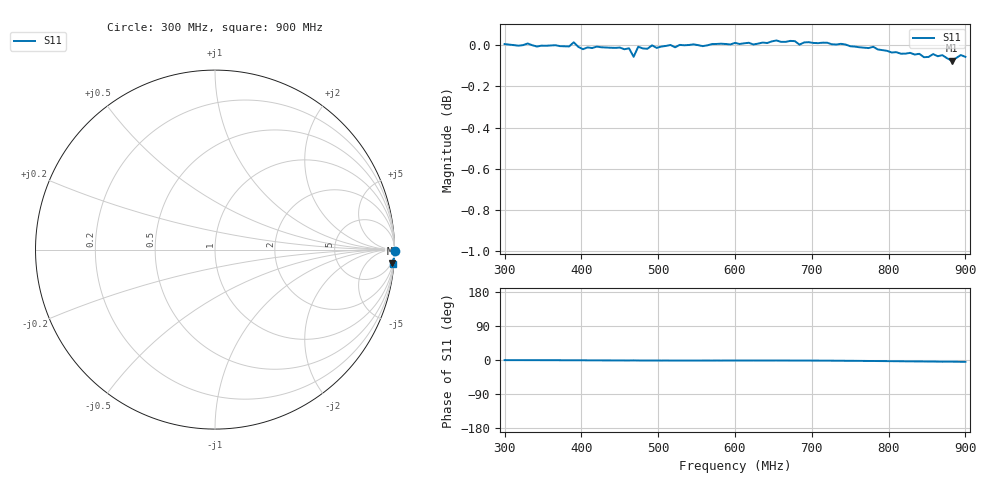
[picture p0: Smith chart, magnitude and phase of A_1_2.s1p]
# HZ S RI R 50
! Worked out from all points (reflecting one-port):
!   101 points, 300 MHz to 900 MHz, reference 50 ohm
!   lowest |S11| = -0.1 dB at 882 MHz (marker M1), VSWR 233.62, Z = 146 - j1.3e+03 ohm
!   phase of S11 starts at -0 deg and turns -4 deg over the sweep
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3e8  1.001 -0.00585
3.24e8  1 -0.00597
3.78e8  0.9993 -0.0115
3.9e8  1.002 -0.0134
4.02e8  0.9977 -0.0125
4.08e8  0.9986 -0.0155
4.5e8  0.9985 -0.0203
4.62e8  0.998 -0.0218
4.68e8  0.9934 -0.019
4.74e8  0.9989 -0.023
4.86e8  0.9977 -0.0237
4.92e8  0.9996 -0.024
5.28e8  0.9999 -0.0256
6e8  1.001 -0.0238
6.24e8  1 -0.023
6.54e8  1.002 -0.0231
6.78e8  1.002 -0.0256
6.84e8  1 -0.0265
7.02e8  1.001 -0.0269
7.5e8  0.9988 -0.0367
8.28e8  0.9939 -0.0615
8.46e8  0.9911 -0.0672
8.52e8  0.991 -0.0703
8.58e8  0.9926 -0.0702
8.7e8  0.9915 -0.077
8.82e8  0.9886 -0.0755
8.94e8  0.9911 -0.0824
9e8  0.9901 -0.0817
